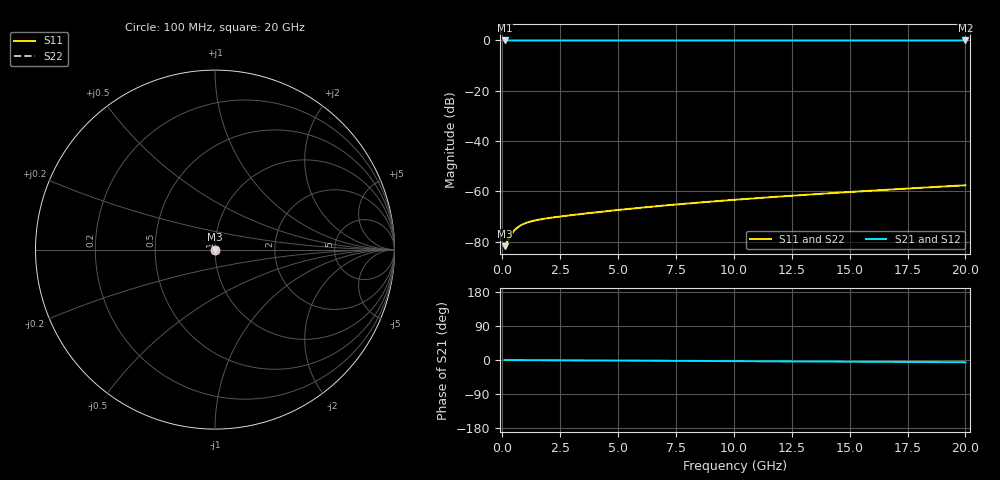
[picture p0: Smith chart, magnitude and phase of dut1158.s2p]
! Touchstone file exported from HFSS 2026.1.0
!  File:  C:/ffzhzh/LocalFiles/Ansys_Project_Files/temp_train_TSV_1158_1783191726_22436.aedt
!  Generated:  03:03:33 AM Jul  5, 2026
!  Design:  TSV
!  Project:  temp_train_TSV_1158_1783191726_22436
! Variables:
!  h_bsmrdl = 2um
!  h_ox = 20um
!  h_rdl = 5um
!  h_sub = 55.62um
!  h_tmrdl = 5um
!  h_tsv = 55.62um
!  h_via = 3um
!  l_bsmrdl = 300um
!  l_sub = 423.72um
!  l_tmrdl = 200um
!  m_sub = 200um
!  pitch = 46.57um
!  r_tsv = 11.86um
!  s_tmrdl = 10um
!  w_bsmrdl = 18um
!  w_sub = 500um
!  w_tmrdl = 12um
!  x_tsv_center1 = 206um
!  x_tsv_center2 = 524um
!  x_tsv_center3 = 736um
!  x_tsv_center4 = 1054um
!  x_tsv_center5 = 1266um
!  x_tsv_center6 = 1584um
# GHz S MA R 50.000000
! Terminal data exported
! Port[1] = TSV1_1_T1
! Port[2] = TSV1_1_T2
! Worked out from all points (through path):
!   200 points, 100 MHz to 20 GHz, reference 50 ohm
!   highest |S21| = 0.00 dB at 100 MHz (marker M1); lowest = 0.0 dB at 20 GHz (marker M2)
!   lowest |S11| = -81.8 dB at 100 MHz (marker M3), VSWR 1.00, Z = 50 + j0.00259 ohm
!   |S11| at or under -10 dB: start of sweep to end of sweep
!   |S22| runs from -81.8 to -57.6 dB; largest |S21 - S12| = 4.6e-15
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0.1  8.151e-05 18.5  0.9999 -0.0  0.9999 -0.0  8.151e-05 18.5
! Gamma 0 0 0 0
! Port Impedance 50 0 50 0
0.2  9.952e-05 29.9  0.9999 -0.1  0.9999 -0.1  9.952e-05 29.9
0.3  0.0001216 34.8  0.9999 -0.1  0.9999 -0.1  0.0001216 34.9
0.4  0.0001437 36.2  0.9999 -0.1  0.9999 -0.1  0.0001437 36.2
0.5  0.0001641 35.8  0.9999 -0.2  0.9999 -0.2  0.0001641 35.8
0.6  0.0001822 34.4  0.9998 -0.2  0.9998 -0.2  0.0001822 34.4
0.7  0.000198 32.7  0.9998 -0.2  0.9998 -0.2  0.000198 32.7
0.8  0.0002116 30.9  0.9998 -0.2  0.9998 -0.2  0.0002116 30.9
1  0.0002335 27.4  0.9998 -0.3  0.9998 -0.3  0.0002335 27.4
1.1  0.0002424 25.8  0.9998 -0.3  0.9998 -0.3  0.0002424 25.8
1.3  0.0002574 22.9  0.9998 -0.4  0.9998 -0.4  0.0002574 22.9
1.5  0.0002698 20.4  0.9997 -0.5  0.9997 -0.5  0.0002698 20.4
1.8  0.0002854 17.3  0.9997 -0.5  0.9997 -0.5  0.0002855 17.3
2.5  0.0003167 11.5  0.9997 -0.7  0.9997 -0.7  0.0003167 11.5
3.5  0.0003595 4.9  0.9996 -1.0  0.9996 -1.0  0.0003595 4.9
5.1  0.0004319 -4.9  0.9996 -1.5  0.9996 -1.5  0.000432 -4.9
6.8  0.0005138 -14.4  0.9995 -2.0  0.9995 -2.0  0.000514 -14.4
8.4  0.0005947 -22.4  0.9994 -2.5  0.9994 -2.5  0.000595 -22.4
10.1  0.0006849 -29.7  0.9994 -3.0  0.9994 -3.0  0.0006852 -29.7
13.4  0.0008736 -40.9  0.9993 -4.0  0.9993 -4.0  0.0008742 -40.9
16.7  0.001084 -49.0  0.9992 -4.9  0.9992 -4.9  0.001085 -49.0
20  0.001323 -55.1  0.9991 -5.9  0.9991 -5.9  0.001324 -55.0
